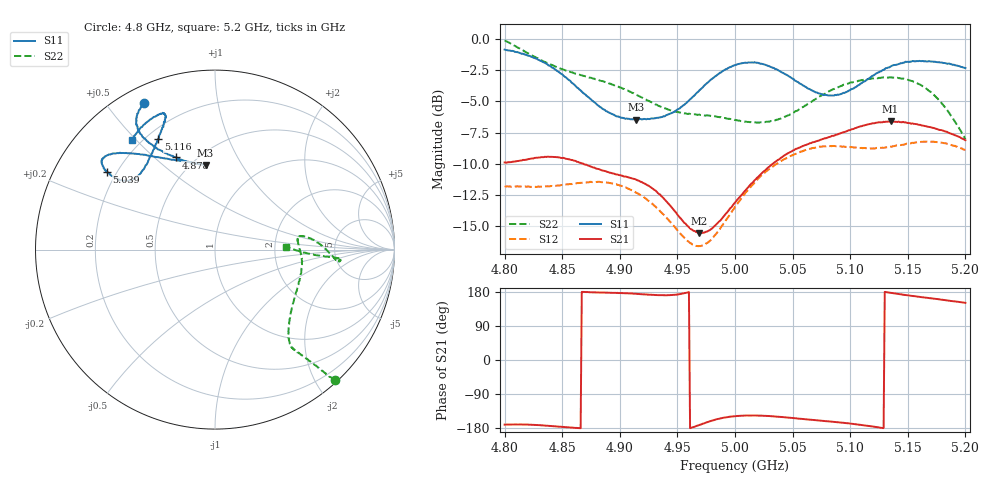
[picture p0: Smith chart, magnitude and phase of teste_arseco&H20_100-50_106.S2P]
! Network Analyzer HP8722D
! Hewlett-Packard
! Data name: Linha & Wilkinson
! Saver's name: Rodrigo Anjos
! Comments: Teste da utilização de aquisição
! continua pelo VNA HP8722D
! Time and date: 6/5/2025 13:27
!  Frequency  S11  S21  S12  S22
# HZ  S  MA R 50
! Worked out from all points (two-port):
!   401 points, 4.8 GHz to 5.2 GHz, reference 50 ohm
!   highest |S21| = -6.60 dB at 5.135 GHz (marker M1); lowest = -15.5 dB at 4.969 GHz (marker M2)
!   |S21| within 3 dB of the highest: 4.822 GHz to 4.854 GHz (32.13 MHz wide, 0.664 % of centre); 5.039 GHz to end of sweep
!   lowest |S11| = -6.5 dB at 4.914 GHz (marker M3), VSWR 2.81, Z = 29.1 + j35.5 ohm
!   |S11| at or under -10 dB: nowhere
!   |S22| runs from -8.0 to -0.1 dB; largest |S21 - S12| = 0.83
!   S11 on the Smith chart (normalised r, x): 4.8 GHz: 0.07, +0.63; 4.878 GHz: 0.40, +0.59; 5.039 GHz: 0.16, +0.32; 5.116 GHz: 0.25, +0.58; 5.2 GHz: 0.17, +0.48
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4.8e9  0.9062 115.8  0.3204 -170.5  0.2571 -86.1  0.9856 -47.5
4.835e9  0.801 122.6  0.3376 -173.0  0.2568 -76.6  0.808 -49.8
4.867e9  0.6154 117.9  0.318 179.7  0.2655 -67.4  0.7151 -51.5
4.878e9  0.5574 112.9  0.3054 178.4  0.2675 -66.0  0.6927 -52.0
4.898e9  0.4898 102.4  0.2867 177.1  0.2603 -66.5  0.6461 -50.4
4.914e9  0.4751 96.4  0.2737 174.8  0.2426 -68.2  0.5999 -46.8
4.934e9  0.4844 99.2  0.2396 171.1  0.2074 -69.5  0.5386 -37.4
4.947e9  0.5107 106.9  0.2063 172.0  0.1781 -67.0  0.5144 -29.0
4.969e9  0.6223 123.5  0.167 -171.5  0.1483 -47.9  0.4978 -15.2
4.98e9  0.6917 129.5  0.1743 -160.0  0.1585 -35.0  0.4913 -9.2
5e9  0.7856 137.3  0.2212 -148.4  0.2129 -21.6  0.4736 -0.3
5.019e9  0.8026 141.8  0.2777 -146.7  0.2717 -18.4  0.4622 5.9
5.039e9  0.7422 144.2  0.3314 -150.0  0.3222 -18.3  0.4787 8.9
5.067e9  0.6217 142.0  0.385 -158.0  0.3656 -20.6  0.5629 4.6
5.088e9  0.5956 133.1  0.4142 -163.9  0.3716 -23.8  0.6375 -1.7
5.116e9  0.6934 117.2  0.4553 -174.2  0.3651 -26.8  0.6909 -5.3
5.134e9  0.7696 111.1  0.4659 177.8  0.3696 -28.7  0.7015 -4.9
5.135e9  0.7752 111.1  0.4675 177.4  0.3706 -28.8  0.7019 -4.7
5.15e9  0.81 110.5  0.4606 170.6  0.3807 -31.9  0.6854 -3.9
5.165e9  0.8136 113.6  0.4477 164.6  0.3876 -36.3  0.6384 -3.7
5.182e9  0.8008 119.8  0.4267 158.2  0.3825 -41.6  0.5344 -2.8
5.2e9  0.7646 127.2  0.3929 150.8  0.3594 -46.4  0.3965 2.4
